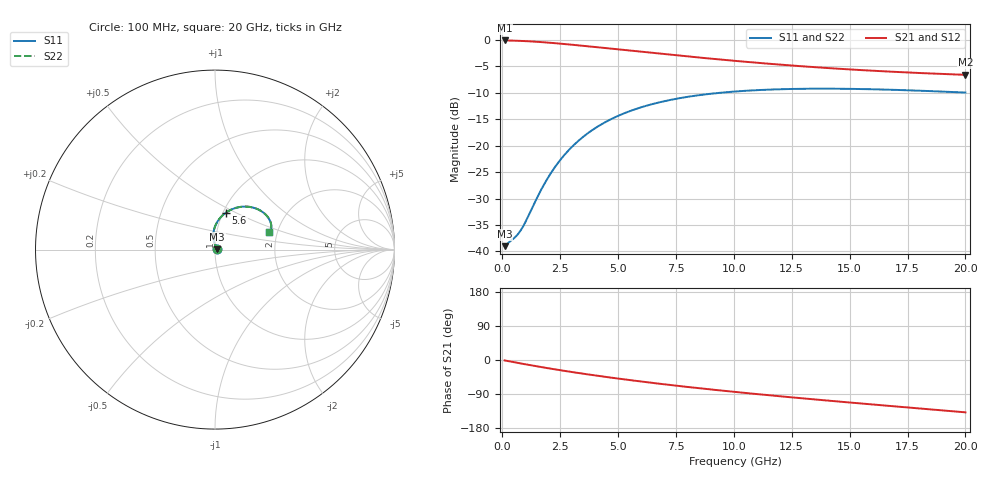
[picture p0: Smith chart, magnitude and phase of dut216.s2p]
! Touchstone file exported from HFSS 2024.1.0
!  File:  C:/UserFiles/LocalFiles/RDL_TSV_Batchsim/temp_RDL_TSV_216_1779447565.aedt
!  Generated:  07:16:34 PM May 22, 2026
!  Design:  RDL_TSV
!  Project:  temp_RDL_TSV_216_1779447565
!  Setup:  Setup1
!  Solution:  Sweep
! Variables:
!  dtsv = 5.84um
!  hbump = 3um
!  htsv = 85.8um
!  ldown = 119.9um
!  lrdl = 334.13um
!  p = 40
!  p1 = 43.55um
!  rhole = 10um
!  subl = 1696.22um
!  t = 450um
!  tdown = 3.9um
!  trdl = 3.88um
!  viad = 10um
!  wdown = 11.44um
!  wrdl = 19.75um
!  xbump = 18um
# GHz S MA R 50.000000
! Terminal data exported
! Port[1] = TM1_1_T1
! Port[2] = TM1_4_T1
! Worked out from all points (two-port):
!   200 points, 100 MHz to 20 GHz, reference 50 ohm
!   highest |S21| = -0.10 dB at 100 MHz (marker M1); lowest = -6.6 dB at 20 GHz (marker M2)
!   |S21| within 3 dB of the highest: start of sweep to 7.96 GHz
!   lowest |S11| = -39.0 dB at 100 MHz (marker M3), VSWR 1.02, Z = 51.1 + j0.198 ohm
!   |S11| at or under -10 dB: start of sweep to 9.4 GHz
!   |S22| runs from -39.0 to -9.2 dB; largest |S21 - S12| = 1.2e-14
!   S11 on the Smith chart (normalised r, x): 100 MHz: 1.02, +0.00; 5.6 GHz: 1.03, +0.45; 20 GHz: 1.81, +0.39
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0.1  0.01121 10.0  0.9887 -1.2  0.9887 -1.2  0.01121 10.0
! Gamma 0 0 0 0
! Port Impedance 50 0 50 0
0.6  0.01394 46.7  0.9829 -6.9  0.9829 -6.9  0.01394 46.7
0.8  0.01586 60.9  0.9793 -9.1  0.9793 -9.1  0.01586 60.9
1  0.01897 73.4  0.9748 -11.3  0.9748 -11.3  0.01897 73.4
1.7  0.03908 95.3  0.9537 -18.8  0.9537 -18.8  0.03908 95.3
2  0.05089 97.6  0.9427 -21.9  0.9427 -21.9  0.0509 97.7
2.3  0.06392 98.0  0.9308 -25.0  0.9308 -25.0  0.06394 98.0
2.6  0.07779 97.1  0.9185 -27.9  0.9185 -27.9  0.07782 97.2
2.9  0.09219 95.5  0.9057 -30.8  0.9057 -30.8  0.09223 95.6
3.5  0.1216 91.1  0.8796 -36.3  0.8796 -36.3  0.1217 91.2
4  0.1459 86.9  0.8578 -40.7  0.8578 -40.7  0.146 87.0
4.5  0.1692 82.6  0.8361 -44.9  0.8361 -44.9  0.1693 82.6
5  0.1913 78.3  0.8147 -49.0  0.8147 -49.0  0.1914 78.3
5.6  0.2158 73.2  0.7897 -53.7  0.7897 -53.7  0.2159 73.3
6.8  0.2574 64.0  0.7422 -62.7  0.7422 -62.7  0.2577 64.0
8.3  0.2962 54.0  0.6883 -73.1  0.6883 -73.1  0.2965 54.0
10.1  0.3258 44.0  0.6325 -84.6  0.6325 -84.6  0.3262 44.1
11.7  0.3401 36.8  0.5909 -94.0  0.5909 -94.0  0.3405 36.9
13.4  0.3458 30.6  0.5544 -103.6  0.5544 -103.6  0.3463 30.6
15  0.3447 25.9  0.5262 -112.2  0.5262 -112.2  0.3452 25.9
16.7  0.3384 22.0  0.502 -121.1  0.502 -121.1  0.339 22.1
20  0.3179 17.9  0.4679 -138.1  0.4679 -138.1  0.3186 17.9
